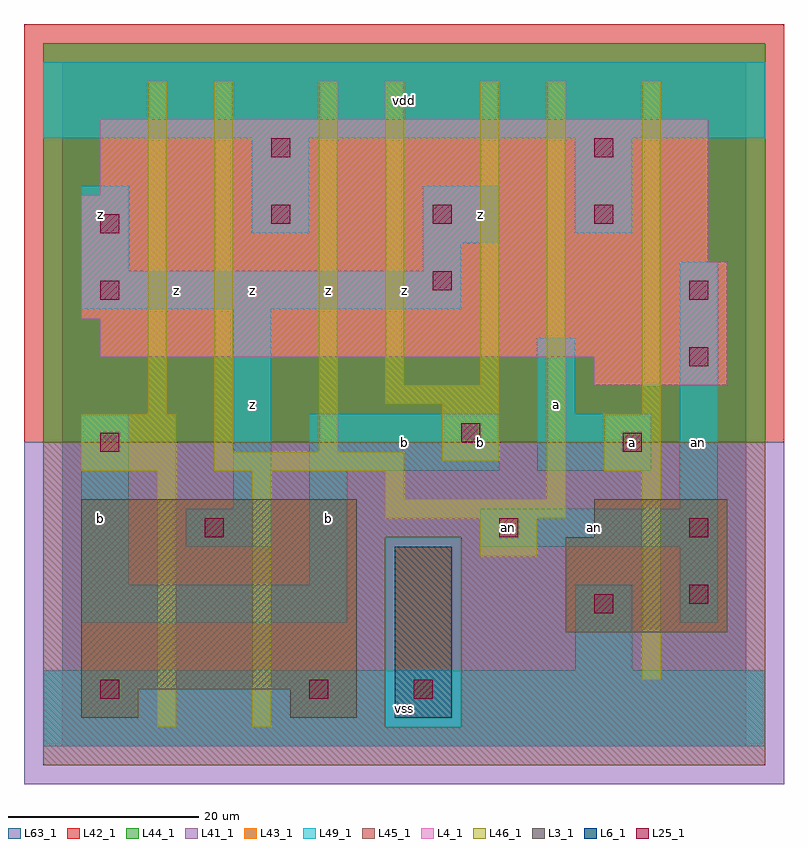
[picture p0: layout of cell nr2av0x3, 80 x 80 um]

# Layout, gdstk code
import gdstk
lib = gdstk.Library(unit=1e-6, precision=1e-09)
def R(c, l, rs):  # rectangles x0, y0, x1, y1
    for r in rs: c.add(gdstk.rectangle(r[:2], r[2:], *l))
def A(c, l, x, y, w, h, nx, ny, dx, dy):  # array of equal rectangles
    R(c, l, [(x+i*dx, y+j*dy, x+i*dx+w, y+j*dy+h) for i in range(nx) for j in range(ny)])
L3_1 = (3, 1)
L4_1 = (4, 1)
L6_1 = (6, 1)
L25_1 = (25, 1)
L41_1 = (41, 1)
L42_1 = (42, 1)
L43_1 = (43, 1)
L44_1 = (44, 1)
L45_1 = (45, 1)
L46_1 = (46, 1)
L49_1 = (49, 1)
L63_1 = (63, 1)

nr2av0x3 = lib.new_cell('nr2av0x3')
R(nr2av0x3, L3_1, [(2,3,8,6), (24,3,31,6), (2,6,31,26), (53,12,70,22), (56,22,70,26)])
R(nr2av0x3, L4_1, [(56,38,70,41), (4,41,70,45), (2,45,70,51), (2,51,68,58), (4,58,68,66)])
R(nr2av0x3, L6_1, [(35,3,41,21), (35,3,41,21)])
A(nr2av0x3, L25_1, 22, 55, 2, 2, 3, 1, 17, 0)
R(nr2av0x3, L25_1, [(4,5,6,7), (26,5,28,7), (37,5,39,7), (56,14,58,16), (66,15,68,17), (15,22,17,24), (46,22,48,24), (66,22,68,24), (4,31,6,33), (59,31,61,33), (42,32,44,34), (66,40,68,42), (4,47,6,49), (66,47,68,49), (39,48,41,50), (4,54,6,56), (22,62,24,64), (56,62,58,64)])
R(nr2av0x3, L41_1, [(-4,-4,76,32)])
R(nr2av0x3, L42_1, [(-4,32,76,76)])
R(nr2av0x3, L43_1, [(2,3,8,6), (24,3,31,6), (35,3,41,21), (2,6,31,26), (53,12,70,22), (56,22,70,26), (56,38,70,41), (4,41,70,45), (2,45,70,51), (2,51,68,58), (4,58,68,66)])
R(nr2av0x3, L44_1, [(34,2,42,22), (-2,32,74,74)])
R(nr2av0x3, L45_1, [(-2,-2,74,2), (-2,2,34,22), (42,2,74,22), (-2,22,74,32)])
R(nr2av0x3, L46_1, [(10,2,12,29), (20,2,22,29), (61,7,63,29), (44,20,50,24), (34,24,53,26), (34,26,36,29), (51,26,53,70), (2,29,12,35), (16,29,36,31), (57,29,63,35), (40,30,46,36), (16,31,18,70), (27,31,29,70), (9,35,11,70), (61,35,63,70), (34,36,46,38), (34,38,36,70), (44,38,46,70)])
R(nr2av0x3, L49_1, [(-2,0,74,8), (54,8,60,17), (2,13,30,17), (65,13,69,21), (2,17,7,35), (26,17,30,29), (13,21,22,25), (44,21,69,25), (18,25,22,46), (65,25,69,51), (26,29,46,35), (50,29,62,35), (50,35,54,43), (2,46,42,50), (2,50,7,59), (38,50,42,53), (38,53,46,59), (20,54,26,64), (54,54,60,64), (-2,64,74,72)])
R(nr2av0x3, L63_1, [(0,0,72,72)])
nr2av0x3.add(gdstk.Label('an', (47,23), layer=49, texttype=1))
nr2av0x3.add(gdstk.Label('b', (4,24), layer=49, texttype=1))
nr2av0x3.add(gdstk.Label('z', (12,48), layer=49, texttype=1))
nr2av0x3.add(gdstk.Label('z', (4,56), layer=49, texttype=1))
nr2av0x3.add(gdstk.Label('b', (28,24), layer=49, texttype=1))
nr2av0x3.add(gdstk.Label('z', (20,36), layer=49, texttype=1))
nr2av0x3.add(gdstk.Label('z', (20,48), layer=49, texttype=1))
nr2av0x3.add(gdstk.Label('z', (28,48), layer=49, texttype=1))
nr2av0x3.add(gdstk.Label('vss', (36,4), layer=49, texttype=1))
nr2av0x3.add(gdstk.Label('b', (36,32), layer=49, texttype=1))
nr2av0x3.add(gdstk.Label('b', (44,32), layer=49, texttype=1))
nr2av0x3.add(gdstk.Label('a', (52,36), layer=49, texttype=1))
nr2av0x3.add(gdstk.Label('z', (36,48), layer=49, texttype=1))
nr2av0x3.add(gdstk.Label('z', (44,56), layer=49, texttype=1))
nr2av0x3.add(gdstk.Label('vdd', (36,68), layer=49, texttype=1))
nr2av0x3.add(gdstk.Label('an', (56,23), layer=49, texttype=1))
nr2av0x3.add(gdstk.Label('a', (60,32), layer=49, texttype=1))
nr2av0x3.add(gdstk.Label('an', (67,32), layer=49, texttype=1))

lib.write_gds('nr2av0x3.gds')
